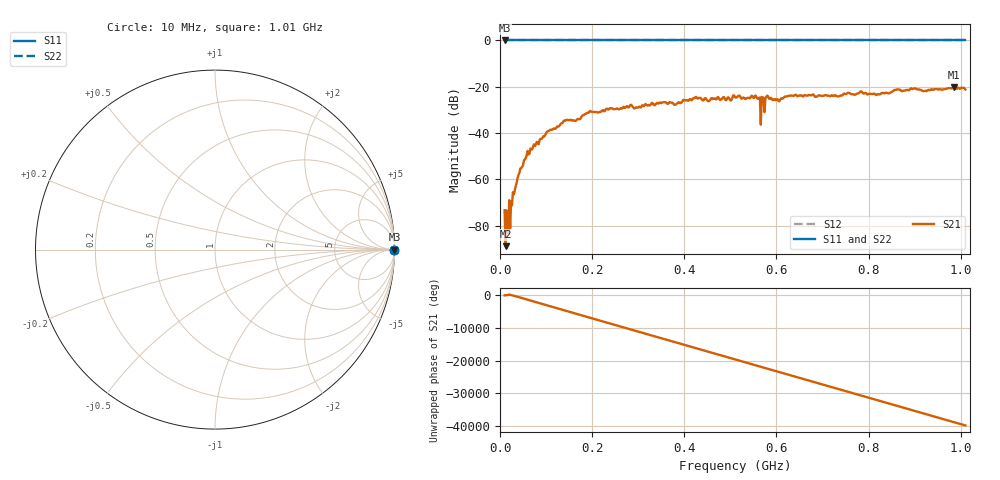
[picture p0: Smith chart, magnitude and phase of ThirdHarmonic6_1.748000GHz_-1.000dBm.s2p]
! 8/16/2025 9:05:09 PM
! C:\ANRITSUVNA\TEMP\TEMP.S2P
! CHANNEL.1
! TR.MEASUREMENT
! RAW.DATA
! RF.CORRECTION.OFF
! AVERAGING.OFF
! IF.BANDWIDTH: 5KHZ
! SWEEPTYPE:  FREQ.SWEEP(Linear)
! Reference Plane Port Info
! PORT:  PORT1  PORT2
! DISTANCE:  0  m  0  m
! TIME:  0  s  0  s
! PHASE.OFFSET:  0  deg.  0  deg.
! LOSS:  0  dB  0  dB
! REF.LOSS:  0  dB  0  dB
! REF.FREQ:  0  Hz  0  Hz
! Power Info
! POWER:  -20  dBm  -20  dBm
! EFF.POWER:  -20  dBm  -20  dBm
! SOURCE.ATTEN:  0  dB  0  dB
! TEST.ATTEN:  0  dB  0  dB
# GHZ S RI R 50.0
! FREQ.GHZ  S11RE  S11IM  S21RE  S21IM  S12RE  S12IM  S22RE  S22IM
!; PortSelection: Port_12
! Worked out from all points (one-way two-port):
!   501 points, 10 MHz to 1.01 GHz, reference 50 ohm
!   highest |S21| = -20.18 dB at 986 MHz (marker M1); lowest = -88.8 dB at 12 MHz (marker M2)
!   lowest |S11| = 0.0 dB at 10 MHz (marker M3)
!   |S11| at or under -10 dB: nowhere
!   |S22| runs from 0.0 to 0.0 dB; largest |S21 - S12| = 1.1
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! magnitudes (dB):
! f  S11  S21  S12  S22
! 10 MHz  0.0  -73.3  0.0  0.0
! 12 MHz  0.0  -88.8  0.0  0.0
! 14 MHz  0.0  -73.4  0.0  0.0
! 22 MHz  0.0  -81.2  0.0  0.0
! 42 MHz  0.0  -57.2  0.0  0.0
! 56 MHz  0.0  -50.8  0.0  0.0
! 70 MHz  0.0  -47.0  0.0  0.0
! 104 MHz  0.0  -39.2  0.0  0.0
! 142 MHz  0.0  -34.7  0.0  0.0
! 178 MHz  0.0  -32.6  0.0  0.0
! 198 MHz  0.0  -30.7  0.0  0.0
! 344 MHz  0.0  -27.3  0.0  0.0
! 510 MHz  0.0  -24.5  0.0  0.0
! 558 MHz  0.0  -24.9  0.0  0.0
! 570 MHz  0.0  -24.5  0.0  0.0
! 572 MHz  0.0  -24.9  0.0  0.0
! 580 MHz  0.0  -23.8  0.0  0.0
! 602 MHz  0.0  -25.3  0.0  0.0
! 678 MHz  0.0  -23.3  0.0  0.0
! 844 MHz  0.0  -22.9  0.0  0.0
! 986 MHz  0.0  -20.2  0.0  0.0
! 1.01 GHz  0.0  -21.2  0.0  0.0
